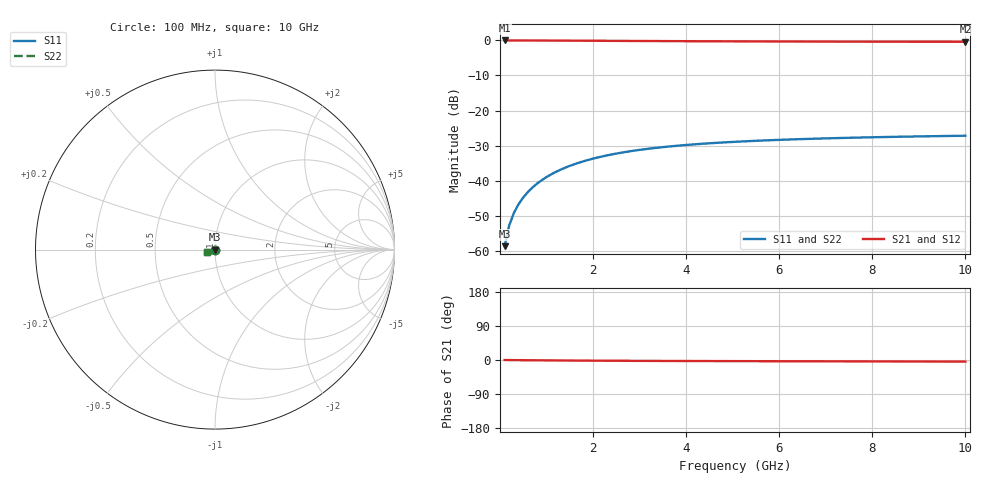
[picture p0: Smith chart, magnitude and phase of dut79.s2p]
! Touchstone file exported from HFSS 2024.1.0
!  File:  C:/UserFiles/LocalFiles/RDL_TSV_Batchsim/temp_TSV1_79_1779374848.aedt
!  Generated:  10:53:24 PM May 21, 2026
!  Design:  TSV1
!  Project:  temp_TSV1_79_1779374848
!  Setup:  Setup1
!  Solution:  Sweep
! Variables:
!  dtsv = 11.51um
!  hbump = 3um
!  htsv = 64.06um
!  lrdl = 252.1521522um
!  p = 40
!  p1 = 44.05um
!  t = 500um
!  trdl = 3um
!  wrdl = 24.89489489um
# GHz S MA R 50.000000
! Terminal data exported
! Port[1] = TSV22_T1
! Port[2] = TSV22_T2
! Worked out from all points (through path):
!   100 points, 100 MHz to 10 GHz, reference 50 ohm
!   highest |S21| = 0.00 dB at 100 MHz (marker M1); lowest = -0.4 dB at 10 GHz (marker M2)
!   lowest |S11| = -58.7 dB at 100 MHz (marker M3), VSWR 1.00, Z = 50 - j0.116 ohm
!   |S11| at or under -10 dB: start of sweep to end of sweep
!   |S22| runs from -58.7 to -27.2 dB; largest |S21 - S12| = 7e-15
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0.1  0.001162 -86.7  0.9999 -0.1  0.9999 -0.1  0.001162 -86.7
! Gamma 0 0 0 0
! Port Impedance 50 0 50 0
0.2  0.002315 -90.8  0.9998 -0.2  0.9998 -0.2  0.002315 -90.8
0.3  0.003467 -93.2  0.9996 -0.3  0.9996 -0.3  0.003467 -93.2
0.4  0.004614 -95.2  0.9994 -0.4  0.9994 -0.4  0.004614 -95.2
0.5  0.005754 -97.0  0.9991 -0.5  0.9991 -0.5  0.005754 -97.0
0.6  0.006883 -98.7  0.9987 -0.6  0.9987 -0.6  0.006883 -98.7
0.7  0.007998 -100.3  0.9983 -0.7  0.9983 -0.7  0.007998 -100.3
0.8  0.009099 -101.9  0.9978 -0.8  0.9978 -0.8  0.009099 -101.9
0.9  0.01018 -103.4  0.9973 -0.9  0.9973 -0.9  0.01018 -103.4
1.1  0.01229 -106.4  0.9962 -1.1  0.9962 -1.1  0.01229 -106.4
1.4  0.01529 -110.7  0.9942 -1.3  0.9942 -1.3  0.01529 -110.7
1.6  0.01716 -113.4  0.9928 -1.5  0.9928 -1.5  0.01716 -113.4
1.8  0.01893 -116.0  0.9914 -1.6  0.9914 -1.6  0.01893 -116.0
2.1  0.02139 -119.6  0.9891 -1.8  0.9891 -1.8  0.02139 -119.6
2.5  0.02432 -124.2  0.9861 -2.0  0.9861 -2.0  0.02432 -124.2
2.9  0.02687 -128.3  0.9832 -2.2  0.9832 -2.2  0.02687 -128.3
3.4  0.02958 -132.9  0.9797 -2.5  0.9797 -2.5  0.02958 -132.9
4.2  0.03303 -139.1  0.9749 -2.7  0.9749 -2.7  0.03303 -139.1
5.1  0.03595 -144.8  0.9704 -3.0  0.9704 -3.0  0.03595 -144.8
6.7  0.03955 -152.8  0.9644 -3.4  0.9644 -3.4  0.03955 -152.8
8.4  0.04207 -159.2  0.9601 -3.8  0.9601 -3.8  0.04207 -159.2
10  0.04372 -164.1  0.9573 -4.2  0.9573 -4.2  0.04372 -164.1
